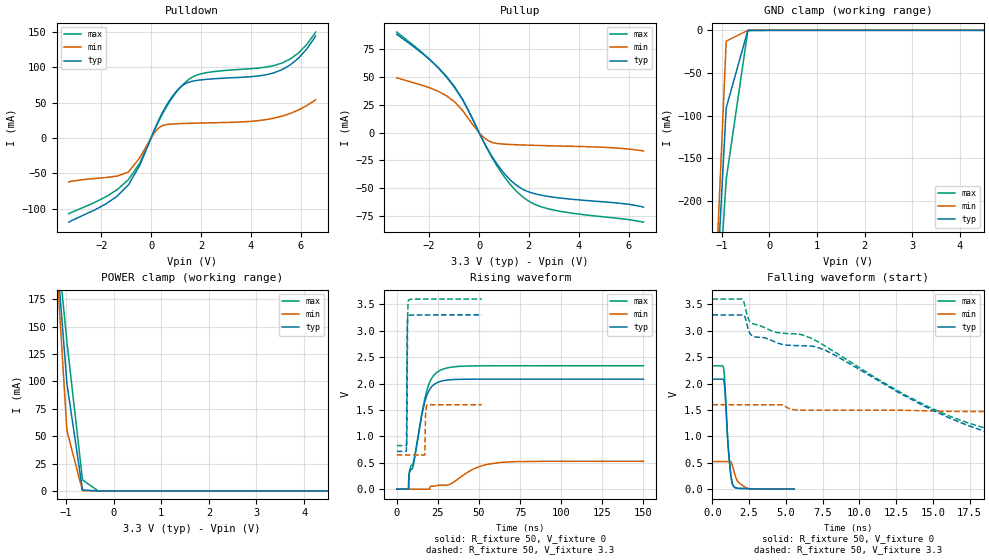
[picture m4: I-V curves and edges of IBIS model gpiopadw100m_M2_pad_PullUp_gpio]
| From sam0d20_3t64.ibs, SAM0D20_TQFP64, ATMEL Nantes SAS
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|   MODEL : gpiopadw100m_M2_pad_PullUp_gpio
[Model] gpiopadw100m_M2_pad_PullUp_gpio
Model_type I/O
Vinl  =  0.99
Vinh  =  2.31
Vmeas =  1.650
| Capacitance   typ   min   max
C_comp   1.24002p   1.23763p   1.27582p
| Variables   typ   min   max
[GND Clamp Reference]   0   0   0
[POWER Clamp Reference]   3.3   1.6   3.6
[Pulldown Reference]   0   0   0
[Pullup Reference]   3.3   1.6   3.6
[Temperature Range]   25   -40   105
[Voltage Range]   3.3   1.6   3.6
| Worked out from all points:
|   slope of the pulldown table from 0 to 0.495 V, typ, clamps not added: 12.9 ohm
|   slope of the pullup table from 0 to 0.495 V, typ, clamps not added: 24.3 ohm
|   falling waveform, R_fixture 50, V_fixture 0: 20-80 % time 299ps typ, 492ps min, 300ps max; typ from 2.08 V to 0.001 V
|   falling waveform, R_fixture 50, V_fixture 3.3: 20-80 % time 12.8ns typ, 35ns min, 12.5ns max; typ from 3.3 V to 0.715 V
|   rising waveform, R_fixture 50, V_fixture 0: 20-80 % time 7.4ns typ, 16.7ns min, 8.69ns max; typ from 0 V to 2.08 V
|   rising waveform, R_fixture 50, V_fixture 3.3: 20-80 % time 217ps typ, 319ps min, 221ps max; typ from 0.715 V to 3.3 V
[GND Clamp]
| Voltage   I(typ)   I(min)   I(max)
-3.3V     -2.634A    -3.19A     -2.302A
-1.364V   -570.8mA   -594.8mA   -573.1mA
-909.1mV  -90.85mA   -12.72mA   -174.6mA
-454.5mV  -20.67uA   -222.6nA   -356.4uA
6.6V      0A         0A         0A
[POWER Clamp]
| Voltage   I(typ)   I(min)   I(max)
-3.3V     1.751A     2.103A     1.493A
-1.309V   280.3mA    286mA      281.7mA
-981.8mV  98.06mA    55.04mA    136mA
-654.5mV  963uA      216.9uA    10.07mA
-327.3mV  1.354uA    8.417nA    98.06uA
6.6V      0A         0A         0A
[Pulldown]
| Voltage   I(typ)   I(min)   I(max)
-3.3V     -119mA     -61.98mA   -107mA
-1.818V   -93.33mA   -55.91mA   -83.28mA
-909.1mV  -66.28mA   -48.18mA   -58.8mA
-454.5mV  -38.59mA   -27.85mA   -35.52mA
309.4mV   25.56mA    14.14mA    23.9mA
773.4mV   54.8mA     19.53mA    52.8mA
1.238V    73.69mA    20.38mA    73.94mA
1.598V    79.67mA    20.77mA    84.92mA
2.062V    82.36mA    21.18mA    91.19mA
4.936V    92.21mA    28.04mA    102.4mA
5.918V    113mA      39.7mA     120.2mA
6.6V      144.1mA    54mA       149.7mA
[Pullup]
| Voltage   I(typ)   I(min)   I(max)
-3.3V     88.24mA    49.15mA    90.19mA
-1.964V   65.21mA    40.03mA    65.35mA
-981.8mV  41.15mA    27.61mA    40.42mA
-654.5mV  29.72mA    19.7mA     29.25mA
-327.3mV  15.24mA    9.418mA    15.62mA
51.56mV   -2.336mA   -1.279mA   -2.314mA
360.9mV   -15.31mA   -7.05mA    -16.02mA
1.083V    -38.48mA   -10.47mA   -41.7mA
1.805V    -51.42mA   -11.17mA   -58.57mA
2.32V     -55.33mA   -11.52mA   -65.17mA
3.042V    -58.15mA   -11.95mA   -69.75mA
6.6V      -66.94mA   -16.45mA   -80.43mA
[Ramp]
dV/dt_r   1.24997/7.40251n  0.314091/16.5147n  1.40232/8.68884n
dV/dt_f   1.55089/12.8345n  0.573997/35.0183n  1.66518/12.5246n
R_load = 50
[Falling Waveform]
R_fixture = 50
V_fixture = 0
V_fixture_min = 0
V_fixture_max = 0
| Time   V(typ)   V(min)   V(max)
0s        2.083V     523.3mV    2.337V
766.8ps   2.071V     523.3mV    2.283V
859.1ps   1.854V     523.3mV    1.98V
1.016ns   1.031V     523.3mV    1.086V
1.166ns   507.3mV    523.3mV    511.5mV
1.301ns   182.1mV    499mV      180.2mV
1.456ns   49.46mV    351.4mV    51.8mV
1.737ns   16.79mV    143.7mV    17.7mV
2.377ns   11.46mV    15.09mV    11.25mV
5.563ns   974.4uV    463.6uV    868.6uV
[Falling Waveform]
R_fixture = 50
V_fixture = 3.3
V_fixture_min = 1.6
V_fixture_max = 3.6
| Time   V(typ)   V(min)   V(max)
0s        3.3V       1.6V       3.6V
2.025ns   3.299V     1.599V     3.599V
2.467ns   3.006V     1.599V     3.213V
2.726ns   2.9V       1.599V     3.135V
7.623ns   2.639V     1.496V     2.718V
16.56ns   1.298V     1.471V     1.337V
19.86ns   995.9mV    1.47V      1.078V
23.59ns   851.1mV    1.469V     959.9mV
75.53ns   715.4mV    777.3mV    825.1mV
150ns     715mV      643.3mV    824.6mV
[Rising Waveform]
R_fixture = 50
V_fixture = 0
V_fixture_min = 0
V_fixture_max = 0
| Time   V(typ)   V(min)   V(max)
0s        2.426nV    1.414nV    231.1nV
7.015ns   1.373mV    1.414nV    231.1nV
7.273ns   249.7mV    1.414nV    1.092mV
7.688ns   306.6mV    1.414nV    339.6mV
10.15ns   466.4mV    1.414nV    517.8mV
17.83ns   1.736V     1.414nV    1.816V
21.13ns   1.938V     54.42mV    2.096V
26.11ns   2.036V     74.09mV    2.247V
63.28ns   2.083V     507.2mV    2.337V
150ns     2.083V     527.1mV    2.337V
[Rising Waveform]
R_fixture = 50
V_fixture = 3.3
V_fixture_min = 1.6
V_fixture_max = 3.6
| Time   V(typ)   V(min)   V(max)
0s        715.2mV    647.1mV    824.7mV
5.764ns   715.9mV    647.1mV    824.7mV
6.051ns   1.67V      647.1mV    842mV
6.232ns   2.824V     647.1mV    1.111V
6.51ns    3.197V     647.1mV    3.089V
7.104ns   3.28V      647.1mV    3.577V
17.01ns   3.299V     647.5mV    3.599V
17.47ns   3.299V     1.414V     3.599V
18.37ns   3.3V       1.593V     3.599V
51.69ns   3.3V       1.6V       3.6V
[Add Submodel]
| Submodel Name Mode
M2_pad_PullUp_gpio_T Non-Driving
